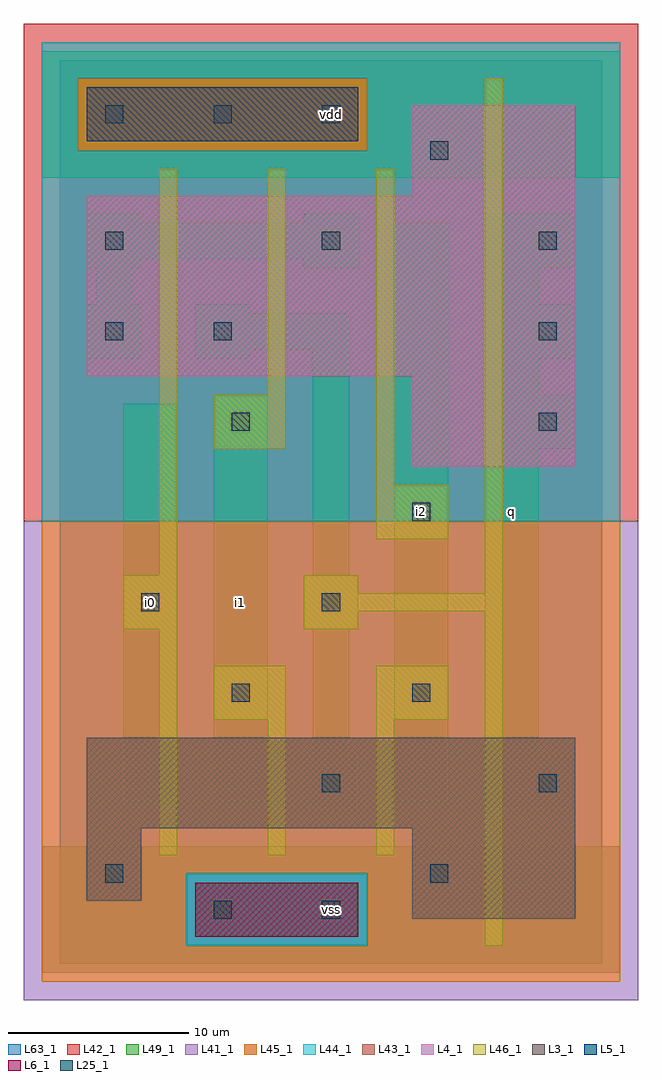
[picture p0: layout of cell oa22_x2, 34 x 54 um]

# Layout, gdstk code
import gdstk
lib = gdstk.Library(unit=1e-6, precision=1e-09)
def R(c, l, rs):  # rectangles x0, y0, x1, y1
    for r in rs: c.add(gdstk.rectangle(r[:2], r[2:], *l))
def A(c, l, x, y, w, h, nx, ny, dx, dy):  # array of equal rectangles
    R(c, l, [(x+i*dx, y+j*dy, x+i*dx+w, y+j*dy+h) for i in range(nx) for j in range(ny)])
L3_1 = (3, 1)
L4_1 = (4, 1)
L5_1 = (5, 1)
L6_1 = (6, 1)
L25_1 = (25, 1)
L41_1 = (41, 1)
L42_1 = (42, 1)
L43_1 = (43, 1)
L44_1 = (44, 1)
L45_1 = (45, 1)
L46_1 = (46, 1)
L49_1 = (49, 1)
L63_1 = (63, 1)

oa22_x2 = lib.new_cell('oa22_x2')
R(oa22_x2, L3_1, [(19.5,2.5,28.5,7.5), (1.5,3.5,4.5,7.5), (1.5,7.5,28.5,12.5)])
R(oa22_x2, L4_1, [(19.5,27.5,28.5,32.5), (1.5,32.5,28.5,42.5), (19.5,42.5,28.5,47.5)])
R(oa22_x2, L5_1, [(1.5,45.5,16.5,48.5)])
R(oa22_x2, L6_1, [(7.5,1.5,16.5,4.5)])
A(oa22_x2, L25_1, 2.5, 39.5, 1, 1, 3, 1, 12, 0)
A(oa22_x2, L25_1, 2.5, 46.5, 1, 1, 3, 1, 6, 0)
R(oa22_x2, L25_1, [(8.5,2.5,9.5,3.5), (14.5,2.5,15.5,3.5), (2.5,4.5,3.5,5.5), (20.5,4.5,21.5,5.5), (14.5,9.5,15.5,10.5), (26.5,9.5,27.5,10.5), (9.5,14.5,10.5,15.5), (19.5,14.5,20.5,15.5), (4.5,19.5,5.5,20.5), (14.5,19.5,15.5,20.5), (19.5,24.5,20.5,25.5), (9.5,29.5,10.5,30.5), (26.5,29.5,27.5,30.5), (2.5,34.5,3.5,35.5), (8.5,34.5,9.5,35.5), (26.5,34.5,27.5,35.5), (20.5,44.5,21.5,45.5)])
R(oa22_x2, L41_1, [(-2,-2,32,24.5)])
R(oa22_x2, L42_1, [(-2,24.5,32,52)])
R(oa22_x2, L43_1, [(7.5,1.5,16.5,4.5), (19.5,2.5,28.5,7.5), (1.5,3.5,4.5,7.5), (1.5,7.5,28.5,12.5), (19.5,27.5,28.5,32.5), (1.5,32.5,28.5,42.5), (19.5,42.5,28.5,47.5), (1.5,45.5,16.5,48.5)])
R(oa22_x2, L44_1, [(7,1,17,5), (-1,24.5,31,45), (-1,45,1,49), (17,45,31,49), (-1,49,31,51)])
R(oa22_x2, L45_1, [(-1,-1,31,1), (-1,1,7,5), (17,1,31,5), (-1,5,31,24.5), (1,45,17,49)])
R(oa22_x2, L46_1, [(23.5,1,24.5,19.5), (5.5,6,6.5,18.5), (11.5,6,12.5,13.5), (17.5,6,18.5,13.5), (8.5,13.5,12.5,16.5), (17.5,13.5,21.5,16.5), (3.5,18.5,6.5,21.5), (13.5,18.5,16.5,19.5), (13.5,19.5,24.5,20.5), (13.5,20.5,16.5,21.5), (23.5,20.5,24.5,49), (5.5,21.5,6.5,44), (17.5,23.5,21.5,26.5), (17.5,26.5,18.5,44), (8.5,28.5,12.5,31.5), (11.5,31.5,12.5,44)])
A(oa22_x2, L49_1, 23.5, 28.5, 5, 3, 1, 3, 0, 5)
R(oa22_x2, L49_1, [(-1,-0.5,31,6.5), (13.5,8.5,16.5,11.5), (23.5,8.5,28.5,11.5), (3.5,9,6.5,31), (8.5,9,11.5,31.5), (18.5,9,21.5,41), (14,11.5,16,18.5), (23.5,11.5,26.5,28.5), (13.5,18.5,16.5,21.5), (14,21.5,16,34), (23.5,31.5,26.5,33.5), (1.5,33.5,4.5,36.5), (7.5,33.5,10.5,34), (7.5,34,16,36), (7.5,36,10.5,36.5), (2,36.5,4,38.5), (23.5,36.5,26.5,38.5), (1.5,38.5,4.5,39), (13.5,38.5,16.5,39), (1.5,39,16.5,41), (1.5,41,4.5,41.5), (13.5,41,16.5,41.5), (-1,43.5,31,50.5)])
R(oa22_x2, L63_1, [(0,0,30,50)])
oa22_x2.add(gdstk.Label('i0', (5,20), layer=49, texttype=1))
oa22_x2.add(gdstk.Label('i0', (5,20), layer=49, texttype=1))
oa22_x2.add(gdstk.Label('i1', (10,20), layer=49, texttype=1))
oa22_x2.add(gdstk.Label('i1', (10,20), layer=49, texttype=1))
oa22_x2.add(gdstk.Label('vss', (15,3), layer=49, texttype=1))
oa22_x2.add(gdstk.Label('vss', (15,3), layer=49, texttype=1))
oa22_x2.add(gdstk.Label('i2', (20,25), layer=49, texttype=1))
oa22_x2.add(gdstk.Label('i2', (20,25), layer=49, texttype=1))
oa22_x2.add(gdstk.Label('vdd', (15,47), layer=49, texttype=1))
oa22_x2.add(gdstk.Label('vdd', (15,47), layer=49, texttype=1))
oa22_x2.add(gdstk.Label('q', (25,25), layer=49, texttype=1))
oa22_x2.add(gdstk.Label('q', (25,25), layer=49, texttype=1))

lib.write_gds('oa22_x2.gds')
